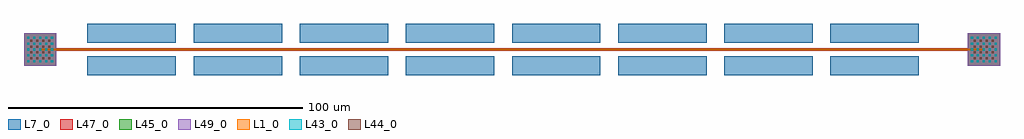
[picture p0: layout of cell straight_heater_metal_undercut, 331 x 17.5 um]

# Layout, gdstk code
import gdstk
lib = gdstk.Library(unit=1e-6, precision=1e-09)
def R(c, l, rs):  # rectangles x0, y0, x1, y1
    for r in rs: c.add(gdstk.rectangle(r[:2], r[2:], *l))
L1_0 = (1, 0)
L7_0 = (7, 0)
L43_0 = (43, 0)
L44_0 = (44, 0)
L45_0 = (45, 0)
L47_0 = (47, 0)
L49_0 = (49, 0)

straight_cross_sections_ = lib.new_cell('straight_cross_sections_5cdefe79')
R(straight_cross_sections_, L1_0, [(0,-0.25,16,0.25)])
R(straight_cross_sections_, L47_0, [(0,-0.5,16,0.5)])

c_straight_cross_sections_ = lib.new_cell('straight_cross_sections_8124455c')
R(c_straight_cross_sections_, L1_0, [(0,-0.25,30,0.25)])
R(c_straight_cross_sections_, L7_0, [(0,-8.75,30,-2.25), (0,2.25,30,8.75)])
R(c_straight_cross_sections_, L47_0, [(0,-0.5,30,0.5)])

c_straight_cross_sections__ = lib.new_cell('straight_cross_sections_57c1e445')
R(c_straight_cross_sections__, L1_0, [(0,-0.25,6,0.25)])
R(c_straight_cross_sections__, L47_0, [(0,-0.5,6,0.5)])

component_sequence_sequ_ = lib.new_cell('component_sequence_sequ_dfed476a')
component_sequence_sequ_.add(gdstk.Reference(straight_cross_sections_, (0,0)))
component_sequence_sequ_.add(gdstk.Reference(c_straight_cross_sections_, (16,0)))
component_sequence_sequ_.add(gdstk.Reference(c_straight_cross_sections__, (46,0)))
component_sequence_sequ_.add(gdstk.Reference(c_straight_cross_sections_, (52,0)))
component_sequence_sequ_.add(gdstk.Reference(c_straight_cross_sections__, (82,0)))
component_sequence_sequ_.add(gdstk.Reference(c_straight_cross_sections_, (88,0)))
component_sequence_sequ_.add(gdstk.Reference(c_straight_cross_sections__, (118,0)))
component_sequence_sequ_.add(gdstk.Reference(c_straight_cross_sections_, (124,0)))
component_sequence_sequ_.add(gdstk.Reference(c_straight_cross_sections__, (154,0)))
component_sequence_sequ_.add(gdstk.Reference(c_straight_cross_sections_, (160,0)))
component_sequence_sequ_.add(gdstk.Reference(c_straight_cross_sections__, (190,0)))
component_sequence_sequ_.add(gdstk.Reference(c_straight_cross_sections_, (196,0)))
component_sequence_sequ_.add(gdstk.Reference(c_straight_cross_sections__, (226,0)))
component_sequence_sequ_.add(gdstk.Reference(c_straight_cross_sections_, (232,0)))
component_sequence_sequ_.add(gdstk.Reference(c_straight_cross_sections__, (262,0)))
component_sequence_sequ_.add(gdstk.Reference(c_straight_cross_sections_, (268,0)))
component_sequence_sequ_.add(gdstk.Reference(c_straight_cross_sections__, (298,0)))
component_sequence_sequ_.add(gdstk.Reference(straight_cross_sections_, (304,0)))

rectangle_layer47_0_size = lib.new_cell('rectangle_layer47_0_size11_11')
R(rectangle_layer47_0_size, L47_0, [(0,0,11,11)])

compass_layer47_0_size11 = lib.new_cell('compass_layer47_0_size11_11')
compass_layer47_0_size11.add(gdstk.Reference(rectangle_layer47_0_size, (-5.5,-5.5)))

rectangle_layer45_0_size = lib.new_cell('rectangle_layer45_0_size11_11')
R(rectangle_layer45_0_size, L45_0, [(0,0,11,11)])

compass_layer45_0_size11 = lib.new_cell('compass_layer45_0_size11_11')
compass_layer45_0_size11.add(gdstk.Reference(rectangle_layer45_0_size, (-5.5,-5.5)))

rectangle_layer49_0_size = lib.new_cell('rectangle_layer49_0_size11_11')
R(rectangle_layer49_0_size, L49_0, [(0,0,11,11)])

compass_layer49_0_size11 = lib.new_cell('compass_layer49_0_size11_11')
compass_layer49_0_size11.add(gdstk.Reference(rectangle_layer49_0_size, (-5.5,-5.5)))

via_enclosure2_layer44_0 = lib.new_cell('via_enclosure2_layer44_0')
R(via_enclosure2_layer44_0, L44_0, [(-0.35,-0.35,0.35,0.35)])

via_layer43_0 = lib.new_cell('via_layer43_0')
R(via_layer43_0, L43_0, [(-0.35,-0.35,0.35,0.35)])

via_stack_layers47_0_45_ = lib.new_cell('via_stack_layers47_0_45_0a75706f')
via_stack_layers47_0_45_.add(gdstk.Reference(compass_layer47_0_size11, (0,0)))
via_stack_layers47_0_45_.add(gdstk.Reference(compass_layer45_0_size11, (0,0)))
via_stack_layers47_0_45_.add(gdstk.Reference(compass_layer49_0_size11, (0,0)))
r = gdstk.Reference(via_enclosure2_layer44_0, (-3,-3)); r.repetition = gdstk.Repetition(4, 4, v1=(2,0), v2=(0,2)); via_stack_layers47_0_45_.add(r)
r = gdstk.Reference(via_layer43_0, (-4,-4)); r.repetition = gdstk.Repetition(5, 5, v1=(2,0), v2=(0,2)); via_stack_layers47_0_45_.add(r)

straight_heater_metal_un = lib.new_cell('straight_heater_metal_undercut')
straight_heater_metal_un.add(gdstk.Reference(component_sequence_sequ_, (0,0)))
straight_heater_metal_un.add(gdstk.Reference(via_stack_layers47_0_45_, (0,0)))
straight_heater_metal_un.add(gdstk.Reference(via_stack_layers47_0_45_, (320,0)))

lib.write_gds('straight_heater_metal_undercut.gds')
